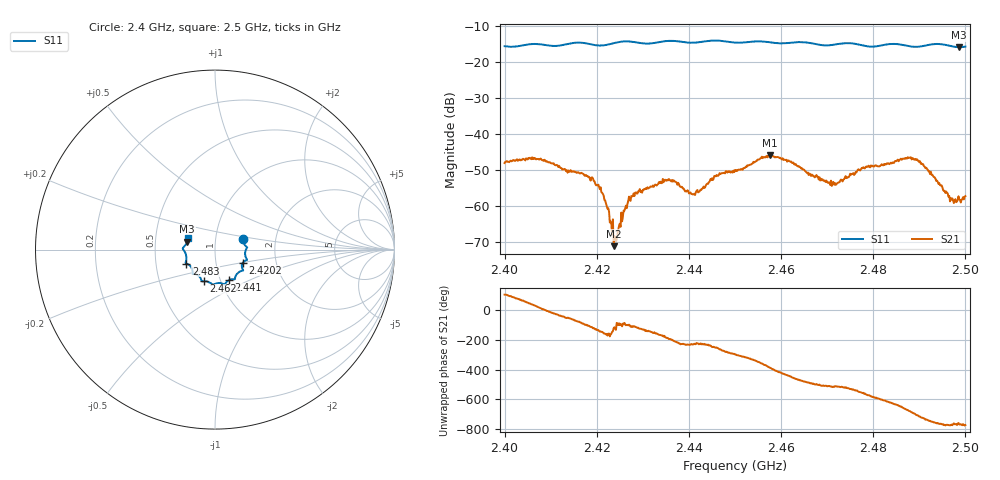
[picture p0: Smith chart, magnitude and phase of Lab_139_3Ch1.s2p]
# Hz S RI R 50
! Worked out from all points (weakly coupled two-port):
!   601 points, 2.4 GHz to 2.5 GHz, reference 50 ohm
!   highest |S21| = -45.88 dB at 2.4575 GHz (marker M1); lowest = -71.1 dB at 2.4237 GHz (marker M2)
!   lowest |S11| = -15.8 dB at 2.4987 GHz (marker M3), VSWR 1.39, Z = 36.4 + j3.28 ohm
!   |S11| at or under -10 dB: start of sweep to end of sweep
!   S12 and S22 are empty: the file has one direction only
!   S11 on the Smith chart (normalised r, x): 2.4 GHz: 1.36, +0.17; 2.4202 GHz: 1.35, -0.20; 2.441 GHz: 1.10, -0.39; 2.462 GHz: 0.83, -0.30; 2.483 GHz: 0.72, -0.12; 2.5 GHz: 0.73, +0.09
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2.4e9  0.1564 0.06  -0.00106 0.00385  0 0  0 0
2.4075e9  0.1785 0.0104  0.00424 0.00136  0 0  0 0
2.416667e9  0.1777 -0.0585  0.000256 -0.0029  0 0  0 0
2.420167e9  0.1559 -0.072  -0.00137 -0.00139  0 0  0 0
2.422167e9  0.1492 -0.0909  -0.000938 -0.000355  0 0  0 0
2.423667e9  0.1517 -0.1048  -0.000147 -0.000237  0 0  0 0
2.424167e9  0.1531 -0.1083  -0.000223 -0.000248  0 0  0 0
2.4275e9  0.154 -0.1172  -0.000435 -0.00132  0 0  0 0
2.433333e9  0.1129 -0.1524  -0.00195 -0.000609  0 0  0 0
2.436833e9  0.1088 -0.1654  -0.00196 0.00108  0 0  0 0
2.441e9  0.0769 -0.1706  -0.00095 0.00112  0 0  0 0
2.45e9  0.0264 -0.1861  0.00148 0.00283  0 0  0 0
2.4575e9  -0.0213 -0.1887  0.00456 -0.00224  0 0  0 0
2.462e9  -0.0619 -0.1763  0.000168 -0.00417  0 0  0 0
2.466667e9  -0.0766 -0.1669  -0.0019 -0.002  0 0  0 0
2.472e9  -0.1145 -0.1362  -0.00181 -0.000863  0 0  0 0
2.483e9  -0.1591 -0.0781  -0.000923 0.00385  0 0  0 0
2.483333e9  -0.1609 -0.0774  -0.00078 0.00387  0 0  0 0
2.489667e9  -0.1622 -0.0264  0.00423 0.000844  0 0  0 0
2.497e9  -0.1656 0.0241  0.000775 -0.000963  0 0  0 0
2.498667e9  -0.1559 0.0439  0.000787 -0.000967  0 0  0 0
2.5e9  -0.1532 0.0625  0.000802 -0.00113  0 0  0 0
